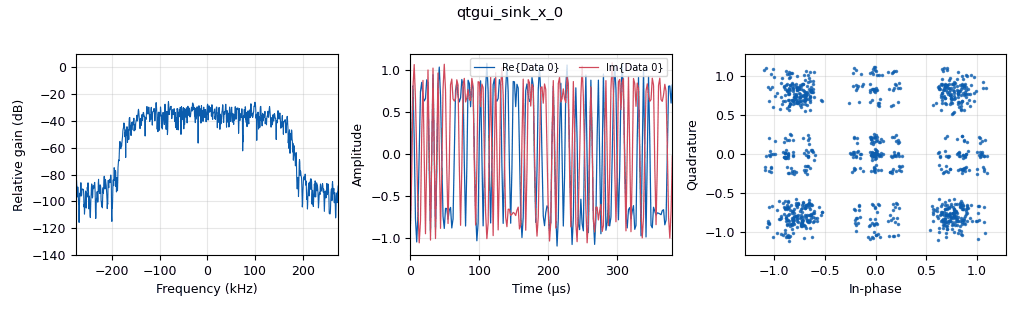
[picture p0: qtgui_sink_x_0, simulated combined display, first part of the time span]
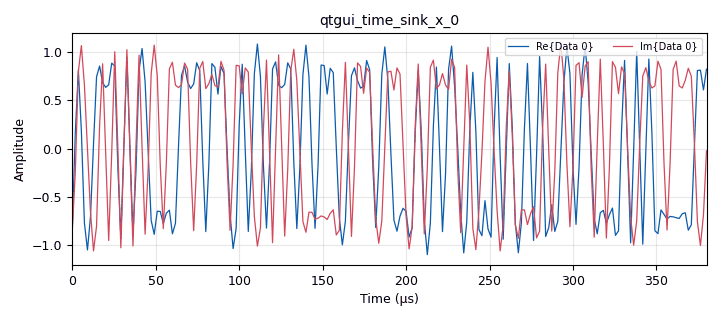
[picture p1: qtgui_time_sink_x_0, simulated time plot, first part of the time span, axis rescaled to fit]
options:
  parameters:
    generate_options: qt_gui
    id: tone_loopback
    output_language: python
    title: Tone Loopback
  states: {}

blocks:
- name: cons_obj
  id: variable_constellation
  parameters:
    precision: '8'
    type: qpsk
  states: {}
- name: excess_bw
  id: variable
  parameters:
    value: '0.35'
  states: {}
- name: samp_rate
  id: variable
  parameters:
    value: '550000'
  states: {}
- name: sps
  id: variable
  parameters:
    value: '2'
  states: {}
- name: symb_rate
  id: variable
  parameters:
    value: '275000'
  states: {}
- name: analog_random_source_x_0
  id: analog_random_source_x
  parameters:
    max: '256'
    min: '0'
    num_samps: '1000'
    repeat: 'True'
    type: byte
  states: {}
- name: blocks_multiply_const_vxx_0
  id: blocks_multiply_const_vxx
  parameters:
    const: '0.5'
    type: complex
  states: {}
- name: blocks_throttle_0
  id: blocks_throttle
  parameters:
    samples_per_second: samp_rate
    type: complex
  states: {}
- name: digital_constellation_modulator_0
  id: digital_constellation_modulator
  parameters:
    constellation: cons_obj
    differential: 'False'
    excess_bw: excess_bw
    samples_per_symbol: '2'
  states: {}
- name: qtgui_sink_x_0
  id: qtgui_sink_x
  parameters:
    bw: samp_rate
    fc: '0'
    fftsize: '1024'
    type: complex
  states: {}
- name: qtgui_time_sink_x_0
  id: qtgui_time_sink_x
  parameters:
    size: '1024'
    srate: samp_rate
    type: complex
  states: {}
- name: virtual_sink_0
  id: virtual_sink
  parameters:
    stream_id: iq
  states: {}
- name: virtual_source_0
  id: virtual_source
  parameters:
    stream_id: iq
  states: {}

connections:
- [analog_random_source_x_0, '0', digital_constellation_modulator_0, '0']
- [blocks_multiply_const_vxx_0, '0', blocks_throttle_0, '0']
- [blocks_throttle_0, '0', virtual_sink_0, '0']
- [digital_constellation_modulator_0, '0', blocks_multiply_const_vxx_0, '0']
- [virtual_source_0, '0', qtgui_sink_x_0, '0']
- [virtual_source_0, '0', qtgui_time_sink_x_0, '0']

metadata:
  file_format: 1
